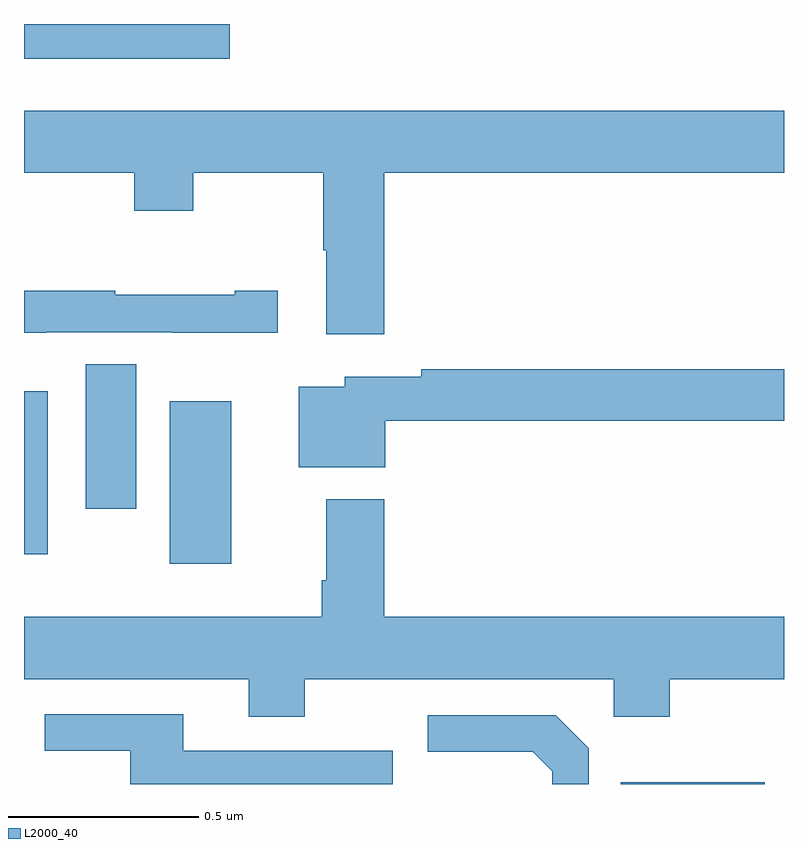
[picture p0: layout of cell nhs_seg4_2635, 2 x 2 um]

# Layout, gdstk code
import gdstk
lib = gdstk.Library(unit=1e-6, precision=1e-09)
def R(c, l, rs):  # rectangles x0, y0, x1, y1
    for r in rs: c.add(gdstk.rectangle(r[:2], r[2:], *l))
def P(c, l, *ps):  # polygons
    for p in ps: c.add(gdstk.Polygon(p, *l))
L2000_40 = (2000, 40)

nhs_seg4_2635 = lib.new_cell('nhs_seg4_2635')
R(nhs_seg4_2635, L2000_40, [(144.571,773.9,144.949,773.905), (143.384,774.48,143.545,774.907), (143,774.504,143.062,774.934), (143.162,774.624,143.296,775.004), (143,775.808,143.542,775.9)])
P(nhs_seg4_2635, L2000_40, [(143.948,775.508),(145,775.508),(145,775.672),(143,775.672),(143,775.508),(143.29,775.508),(143.29,775.409),(143.445,775.409),(143.445,775.508),(143.788,775.508),(143.788,775.304),(143.795,775.304),(143.795,775.083),(143.948,775.083)],
  [(143.058,775.089),(143.392,775.089),(143.392,775.088),(143.668,775.088),(143.668,775.198),(143.555,775.198),(143.555,775.188),(143.24,775.188),(143.24,775.198),(143,775.198),(143,775.088),(143.058,775.088)],
  [(143.95,774.856),(145,774.856),(145,774.992),(144.046,774.992),(144.046,774.972),(143.844,774.972),(143.844,774.946),(143.723,774.946),(143.723,774.734),(143.95,774.734)],
  [(143.739,774.176),(144.552,774.176),(144.552,774.077),(144.699,774.077),(144.699,774.176),(145,774.176),(145,774.34),(143.948,774.34),(143.948,774.649),(143.795,774.649),(143.795,774.436),(143.783,774.436),(143.783,774.34),(143,774.34),(143,774.176),(143.591,774.176),(143.591,774.077),(143.739,774.077)],
  [(143.97,773.988),(143.419,773.988),(143.419,774.084),(143.055,774.084),(143.055,773.988),(143.279,773.988),(143.279,773.9),(143.97,773.9)],
  [(144.486,773.994),(144.399,774.081),(144.063,774.081),(144.063,773.985),(144.339,773.985),(144.39,773.934),(144.39,773.9),(144.486,773.9)])

lib.write_gds('nhs_seg4_2635.gds')
